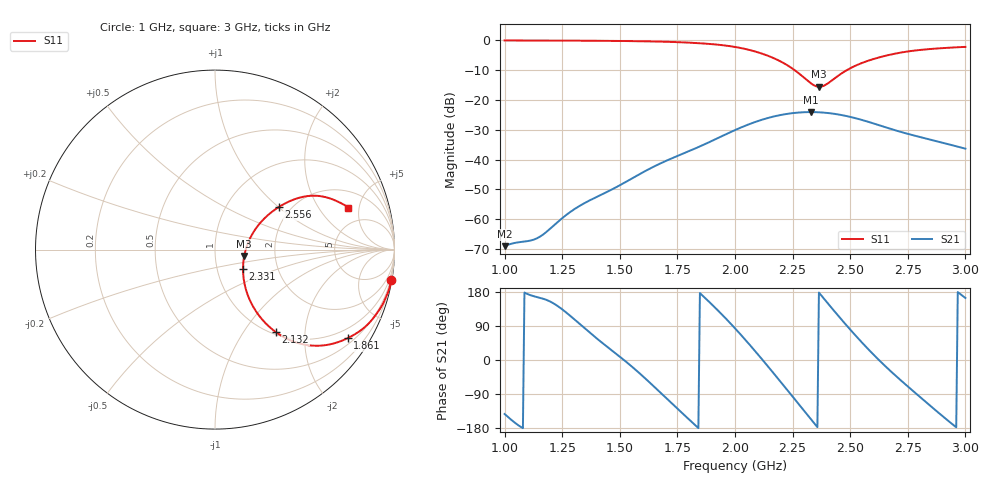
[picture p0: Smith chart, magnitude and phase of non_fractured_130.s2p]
! TOUCHSTONE file generated by CST MICROWAVE STUDIO
! Date and time: Sat Mar  8 13:54:51 2025
! Project name: non_fractured.cst
! Parameters = {B=2.5; D=160; F=20; Feed=2.85625; L=100; M=10; R=0.384908; S=1; Theta=90; length=57.125; wave=114.25}
! Header version: 2024
! Port assignment regex: !\s*Touchstone port\s*([0-9]+)\s*=\s*(CST MWS port|CST DES external port|CST DES block port)\s*(.+)\s* \(\"(.*)\"\)(\s*mode\s*([0-9]+))?.*
! Touchstone port assignment:
! Touchstone port 1 = CST MWS port 1 ("")
! Touchstone port 2 = CST MWS port 2 ("")
# GHz S DB R 50
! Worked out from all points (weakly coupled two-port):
!   303 points, 1 GHz to 3 GHz, reference 50 ohm
!   highest |S21| = -24.05 dB at 2.331 GHz (marker M1); lowest = -69.0 dB at 1 GHz (marker M2)
!   lowest |S11| = -15.6 dB at 2.364 GHz (marker M3), VSWR 1.40, Z = 69.2 - j5.06 ohm
!   |S11| at or under -10 dB: 2.259 GHz to 2.485 GHz (225.7 MHz wide, 9.51 % of centre)
!   S12 and S22 are empty: the file has one direction only
!   S11 on the Smith chart (normalised r, x): 1 GHz: 0, -12; 1.861 GHz: 0.67, -3.17; 2.132 GHz: 1.04, -1.42; 2.331 GHz: 1.33, -0.29; 2.556 GHz: 1.73, +1.00; 3 GHz: 3.25, +3.87
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1  -0.02 -9.8  -69.04 -142.5  -200.00 0.0  -200.00 0.0
1.03974  -0.02 -10.4  -68.02 -163.2  -200.00 0.0  -200.00 0.0
1.11258  -0.04 -11.4  -67.15 171.0  -200.00 0.0  -200.00 0.0
1.1457  -0.04 -11.9  -66.19 165.3  -200.00 0.0  -200.00 0.0
1.27152  -0.07 -14.1  -58.33 123.3  -200.00 0.0  -200.00 0.0
1.33775  -0.10 -15.4  -54.98 88.8  -200.00 0.0  -200.00 0.0
1.66887  -0.39 -24.5  -41.54 -81.7  -200.00 0.0  -200.00 0.0
1.86093  -1.03 -33.7  -35.11 169.0  -200.00 0.0  -200.00 0.0
2  -2.20 -43.6  -30.09 83.7  -200.00 0.0  -200.00 0.0
2.06623  -3.27 -48.9  -27.97 38.4  -200.00 0.0  -200.00 0.0
2.13245  -4.85 -53.6  -26.26 -9.1  -200.00 0.0  -200.00 0.0
2.23179  -8.56 -56.1  -24.58 -82.9  -200.00 0.0  -200.00 0.0
2.33113  -14.49 -34.1  -24.05 -157.4  -200.00 0.0  -200.00 0.0
2.33775  -14.83 -30.3  -24.05 -162.4  -200.00 0.0  -200.00 0.0
2.36424  -15.56 -12.3  -24.12 177.9  -200.00 0.0  -200.00 0.0
2.39735  -14.71 9.5  -24.31 153.5  -200.00 0.0  -200.00 0.0
2.45695  -11.37 28.8  -24.96 110.5  -200.00 0.0  -200.00 0.0
2.50331  -9.22 32.9  -25.72 78.1  -200.00 0.0  -200.00 0.0
2.55629  -7.42 33.7  -26.80 42.7  -200.00 0.0  -200.00 0.0
2.66887  -4.87 31.0  -29.52 -25.7  -200.00 0.0  -200.00 0.0
2.82119  -3.06 23.9  -32.76 -107.1  -200.00 0.0  -200.00 0.0
3  -2.17 17.5  -36.32 163.6  -200.00 0.0  -200.00 0.0
